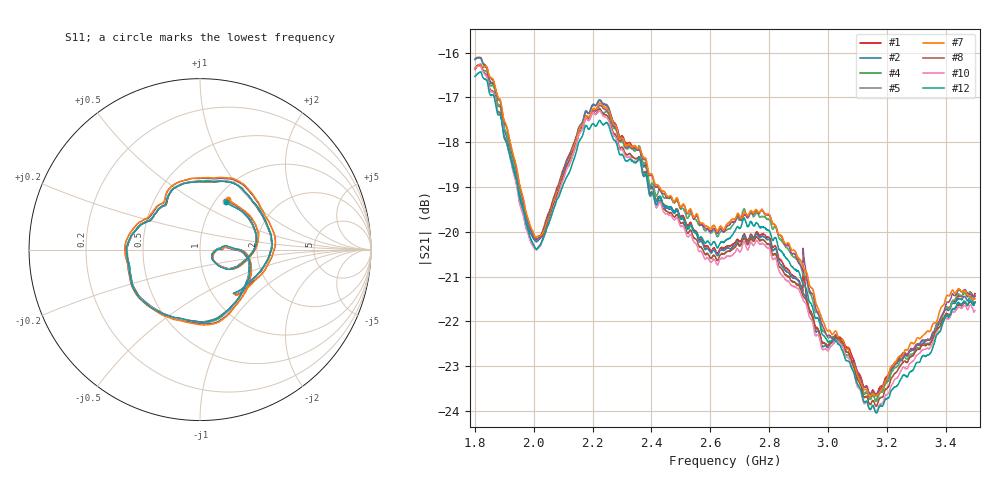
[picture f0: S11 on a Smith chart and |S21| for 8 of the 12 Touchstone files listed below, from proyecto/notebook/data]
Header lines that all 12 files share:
! Created with skrf 1.9.0 (http://scikit-rf.org).
# Hz S RI R 50.0
!freq ReS11 ImS11 ReS21 ImS21 ReS12 ImS12 ReS22 ImS22
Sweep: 1.8 GHz to 3.5 GHz
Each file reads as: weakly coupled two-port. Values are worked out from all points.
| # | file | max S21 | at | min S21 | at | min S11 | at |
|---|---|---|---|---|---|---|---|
| 1 | A01_D01_B2_O000_corrected.s2p | -16.10 dB | 1.815 GHz | -23.7 dB | 3.165 GHz | -22.3 dB | 2.092 GHz |
| 2 | A01_D02_B2_O000_corrected.s2p | -16.11 dB | 1.808 GHz | -23.8 dB | 3.163 GHz | -22.5 dB | 2.092 GHz |
| 3 | A01_D02_B2_O120_corrected.s2p | -16.12 dB | 1.81 GHz | -23.7 dB | 3.163 GHz | -22.3 dB | 2.093 GHz |
| 4 | A01_D04_B2_O120_corrected.s2p | -16.26 dB | 1.82 GHz | -23.8 dB | 3.164 GHz | -22.3 dB | 2.09 GHz |
| 5 | A01_D05_B2_O120_corrected.s2p | -16.28 dB | 1.811 GHz | -23.6 dB | 3.144 GHz | -21.5 dB | 2.091 GHz |
| 6 | A01_D07_B2_O000_corrected.s2p | -16.23 dB | 1.815 GHz | -23.6 dB | 3.163 GHz | -21.6 dB | 2.09 GHz |
| 7 | A01_D07_B2_O240_corrected.s2p | -16.26 dB | 1.815 GHz | -23.7 dB | 3.143 GHz | -21.6 dB | 2.089 GHz |
| 8 | A02_D01_B2_O120_corrected.s2p | -16.28 dB | 1.815 GHz | -23.9 dB | 3.165 GHz | -22.3 dB | 2.093 GHz |
| 9 | A02_D01_B2_O240_corrected.s2p | -16.33 dB | 1.817 GHz | -23.9 dB | 3.163 GHz | -22.0 dB | 2.094 GHz |
| 10 | A02_D02_B2_O000_corrected.s2p | -16.30 dB | 1.815 GHz | -24.0 dB | 3.162 GHz | -22.4 dB | 2.093 GHz |
| 11 | A02_D02_B2_O240_corrected.s2p | -16.34 dB | 1.808 GHz | -24.0 dB | 3.163 GHz | -22.0 dB | 2.093 GHz |
| 12 | A02_D03_B2_O000_corrected.s2p | -16.43 dB | 1.819 GHz | -24.0 dB | 3.165 GHz | -22.3 dB | 2.091 GHz |
